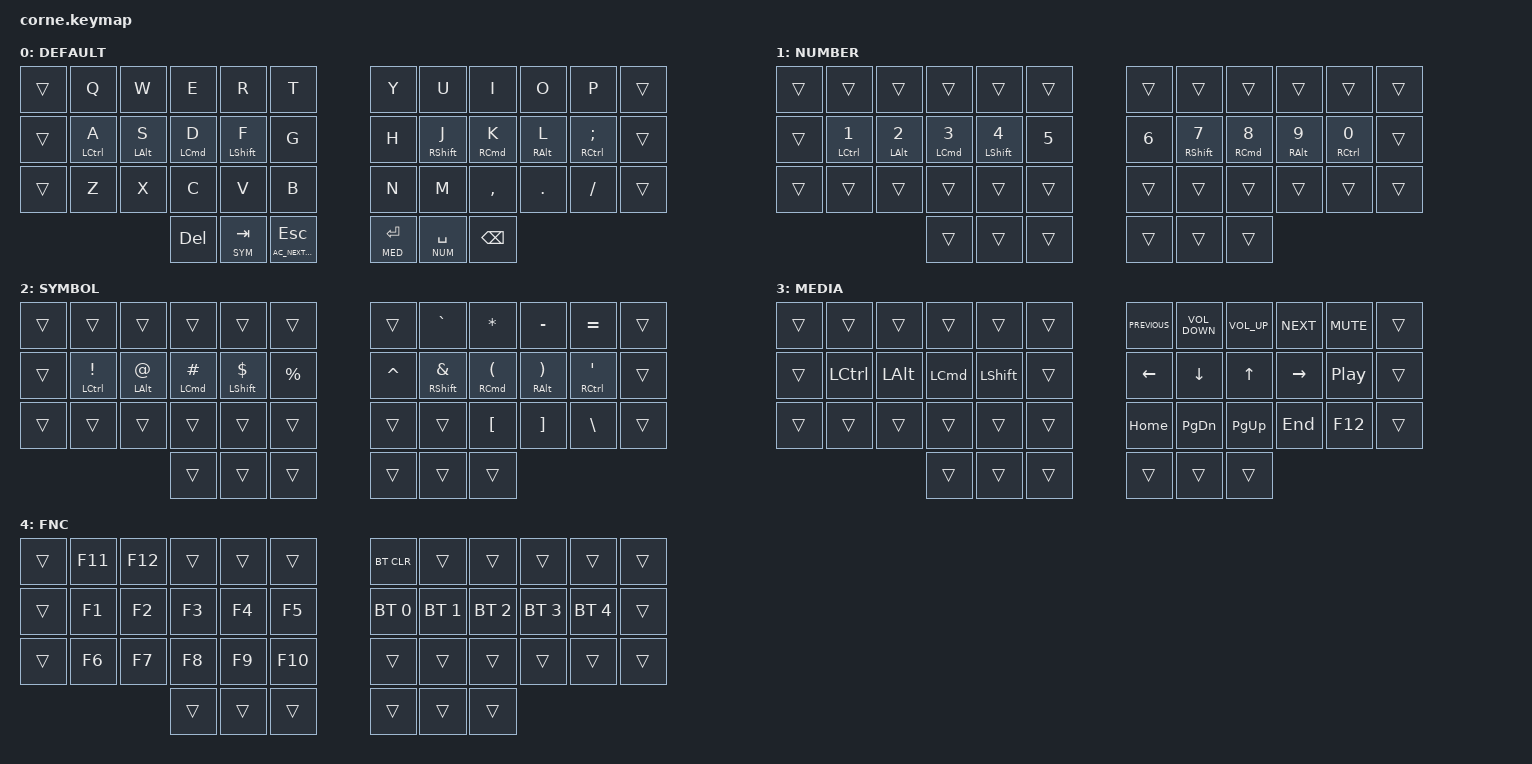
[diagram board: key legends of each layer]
#define HOST_OS 2

#include <behaviors.dtsi>
#include <dt-bindings/zmk/bt.h>
#include <dt-bindings/zmk/keys.h>

// Layer definitions
#define DEF 0
#define NUM 1
#define SYM 2
#define MED 3
#define FNC 4

/ {
    combos {
        compatible = "zmk,combos";

        caps_word {
            bindings = <&kp CAPSLOCK>;
            key-positions = <16 19>;
        };

        function_layer {
            bindings = <&mo FNC>;
            key-positions = <38 39>;
        };
    };

    behaviors {
        hmd: homerow_mods {
            compatible = "zmk,behavior-hold-tap";
            label = "Homerow Mods";
            bindings = <&kp>, <&kp>;

            #binding-cells = <2>;
            tapping-term-ms = <200>;
            quick-tap-ms = <200>;
            require-prior-idle-ms = <125>;
            flavor = "balanced";
        };

        smd: shift_mod {
            compatible = "zmk,behavior-hold-tap";
            label = "Shift Mod";
            bindings = <&kp>, <&kp>;

            #binding-cells = <2>;
            tapping-term-ms = <180>;
            quick-tap-ms = <180>;
            flavor = "balanced";
        };
    };

    keymap {
        compatible = "zmk,keymap";

        default {
            display-name = "DEFAULT";
            bindings = <
                // --------------------------------------      --------------------------------------
                // |      |  Q  |  W  |  E  |  R  |  T  |      |  Y  |  U  |  I  |  O  |  P  |      |
                // |      |  A  |  S  |  D  |  F  |  G  |      |  H  |  J  |  K  |  L  |  ;  |      |
                // |      |  Z  |  X  |  C  |  V  |  B  |      |  N  |  M  |  ,  |  .  |  /  |      |
                //                    | DEL | TAB | ESC |      | ENT | SPC | BSP |
                &trans      &kp Q                &kp W            &kp E                &kp R              &kp T               &kp Y            &kp U               &kp I                 &kp O                 &kp P                         &trans
                &trans      &hmd LEFT_CONTROL A  &hmd LEFT_ALT S  &hmd LEFT_COMMAND D  &smd LEFT_SHIFT F  &kp G               &kp H            &smd RIGHT_SHIFT J  &hmd RIGHT_COMMAND K  &hmd RIGHT_ALT L      &hmd RIGHT_CONTROL SEMICOLON  &trans
                &trans      &kp Z                &kp X            &kp C                &kp V              &kp B               &kp N            &kp M               &kp COMMA             &kp DOT               &kp FSLH                      &trans
                                                 &kp DELETE       &lt SYM TAB          &hmd C_AC_NEXT_KEYBOARD_LAYOUT_SELECT ESCAPE            &lt MED ENTER       &lt NUM SPACE         &kp BACKSPACE
            >;
        };

        number {
            display-name = "NUMBER";
            bindings = <
                // --------------------------------------      --------------------------------------
                // |      |     |     |     |     |     |      |     |     |     |     |     |      |
                // |      |  1  |  2  |  3  |  4  |  5  |      |  6  |  7  |  8  |  9  |  0  |      |
                // |      |     |     |     |     |     |      |     |     |     |     |     |      |
                //                    |     |     |     |      |     |     |     |
                &trans      &trans                         &trans                     &trans                         &trans                       &trans                 &trans           &trans                        &trans                          &trans                      &trans                          &trans
                &trans      &hmd LEFT_CONTROL NUMBER_1     &hmd LEFT_ALT NUMBER_2     &hmd LEFT_COMMAND NUMBER_3     &smd LEFT_SHIFT NUMBER_4     &kp NUMBER_5           &kp NUMBER_6     &smd RIGHT_SHIFT NUMBER_7     &hmd RIGHT_COMMAND NUMBER_8     &hmd RIGHT_ALT NUMBER_9     &hmd RIGHT_CONTROL NUMBER_0     &trans
                &trans      &trans                         &trans                     &trans                         &trans                       &trans                 &trans           &trans                        &trans                          &trans                      &trans                          &trans
                                                           &trans                     &trans                         &trans                       &trans                 &trans           &trans
            >;
        };

        symbol {
            display-name = "SYMBOL";
            bindings = <
                // --------------------------------------      --------------------------------------
                // |      |     |     |     |     |     |      |     |  `  |  *  |  -  |  =  |      |
                // |      |  !  |  @  |  #  |  $  |  %  |      |  ^  |  &  |  (  |  )  |  '  |      |
                // |      |     |     |     |     |     |      |     |     |  [  |  ]  |  \  |      |
                //                    |     |     |     |      |     |     |     |
                &trans      &trans                         &trans                     &trans                         &trans                       &trans               &trans       &kp GRAVE                   &kp ASTERISK                         &kp MINUS                        &kp EQUAL                      &trans
                &trans      &hmd LEFT_CONTROL EXCLAMATION  &hmd LEFT_ALT AT           &hmd LEFT_COMMAND HASH         &smd LEFT_SHIFT DOLLAR       &kp PERCENT          &kp CARET    &smd RIGHT_SHIFT AMPERSAND  &hmd RIGHT_COMMAND LEFT_PARENTHESIS  &hmd RIGHT_ALT RIGHT_PARENTHESIS &hmd RIGHT_CONTROL APOSTROPHE  &trans
                &trans      &trans                         &trans                     &trans                         &trans                       &trans               &trans       &trans                      &kp LEFT_BRACKET                     &kp RIGHT_BRACKET                &kp BACKSLASH                  &trans
                                                           &trans                     &trans                         &trans                       &trans               &trans       &trans
            >;
        };

        media {
            display-name = "MEDIA";
            bindings = <
                // --------------------------------------      --------------------------------------
                // |      |     |     |     |     |     |      | PREV | VOL- | VOL+ | NEXT | MUTE |      |
                // |      | CTL | ALT | CMD | SHF |     |      | LEFT | DOWN | UP   | RGHT | PLAY |      |
                // |      |     |     |     |     |     |      | HOME | PGDN | PGUP | END  | F12  |      |
                //                    |     |     |     |      |      |      |      |
                &trans      &trans            &trans        &trans            &trans            &trans         &kp C_PREVIOUS    &kp C_VOLUME_DOWN    &kp C_VOLUME_UP    &kp C_NEXT           &kp C_MUTE            &trans
                &trans      &kp LEFT_CONTROL  &kp LEFT_ALT  &kp LEFT_COMMAND  &kp LEFT_SHIFT    &trans         &kp LEFT_ARROW    &kp DOWN_ARROW       &kp UP_ARROW       &kp RIGHT_ARROW      &kp C_PLAY_PAUSE      &trans
                &trans      &trans            &trans        &trans            &trans            &trans         &kp HOME          &kp PAGE_DOWN        &kp PAGE_UP        &kp END              &kp F12               &trans
                                              &trans        &trans            &trans            &trans         &trans            &trans
            >;
        };

        fnc {
            display-name = "FNC";
            bindings = <
                // --------------------------------------      --------------------------------------
                // |      | F11 | F12 |     |     |     |      | CLR |     |     |     |     |      |
                // |      | F1  | F2  | F3  | F4  | F5  |      | BT0 | BT1 | BT2 | BT3 | BT4 |      |
                // |      | F6  | F7  | F8  | F9  | F10 |      |     |     |     |     |     |      |
                //                    |     |     |     |      |     |     |     |
                &trans      &kp F11           &kp F12           &trans            &trans            &trans         &bt BT_CLR      &trans             &trans             &trans             &trans              &trans
                &trans      &kp F1            &kp F2            &kp F3            &kp F4            &kp F5         &bt BT_SEL 0    &bt BT_SEL 1       &bt BT_SEL 2       &bt BT_SEL 3       &bt BT_SEL 4        &trans
                &trans      &kp F6            &kp F7            &kp F8            &kp F9            &kp F10        &trans          &trans             &trans             &trans             &trans              &trans
                                              &trans            &trans            &trans            &trans         &trans          &trans
            >;
        };
    };
};
